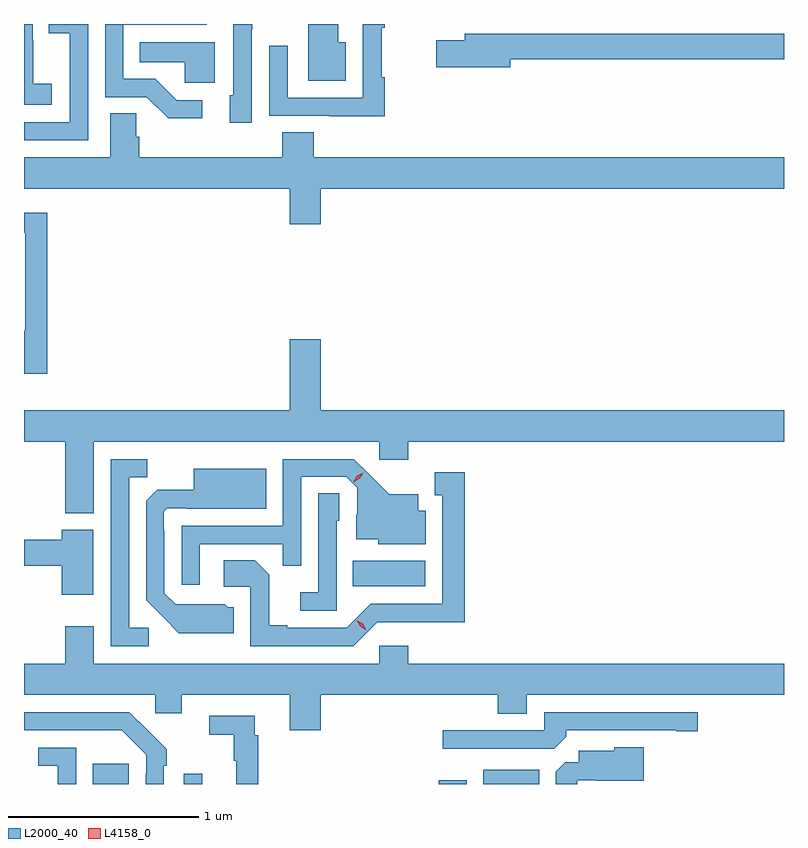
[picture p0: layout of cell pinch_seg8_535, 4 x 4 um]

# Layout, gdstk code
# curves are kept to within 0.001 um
import gdstk
lib = gdstk.Library(unit=1e-6, precision=1e-09)
def R(c, l, rs):  # rectangles x0, y0, x1, y1
    for r in rs: c.add(gdstk.rectangle(r[:2], r[2:], *l))
def P(c, l, *ps):  # polygons
    for p in ps: c.add(gdstk.Polygon(p, *l))
L2000_40 = (2000, 40)
L4158_0 = (4158, 0)

pinch_seg8_535 = lib.new_cell('pinch_seg8_535')
R(pinch_seg8_535, L2000_40, [(116.021,1114.698,116.209,1114.804), (116.499,1114.698,116.595,1114.753), (117.842,1114.698,117.988,1114.717), (118.076,1114.698,118.369,1114.774), (117.388,1115.738,117.769,1115.872)])
P(pinch_seg8_535, L2000_40, [(117.557,1118.417),(117.542,1118.417),(117.542,1118.678),(117.557,1118.678),(117.557,1118.698),(117.441,1118.698),(117.441,1118.31),(117.045,1118.31),(117.045,1118.584),(116.949,1118.584),(116.949,1118.214),(117.265,1118.214),(117.265,1118.213),(117.557,1118.213)],
  [(117.352,1118.602),(117.313,1118.602),(117.313,1118.698),(117.155,1118.698),(117.155,1118.399),(117.352,1118.399)],
  [(116.596,1118.298),(116.461,1118.298),(116.35,1118.409),(116.181,1118.409),(116.181,1118.694),(116.62,1118.694),(116.62,1118.698),(116.085,1118.698),(116.085,1118.313),(116.304,1118.313),(116.417,1118.201),(116.596,1118.201)],
  [(115.995,1118.698),(115.789,1118.698),(115.789,1118.65),(115.899,1118.65),(115.899,1118.181),(115.658,1118.181),(115.658,1118.085),(115.995,1118.085)],
  [(116.856,1118.671),(116.859,1118.671),(116.859,1118.698),(116.759,1118.698),(116.759,1118.641),(116.76,1118.641),(116.76,1118.322),(116.741,1118.322),(116.741,1118.178),(116.856,1118.178)],
  [(115.804,1118.383),(115.706,1118.383),(115.706,1118.612),(115.704,1118.612),(115.704,1118.698),(115.658,1118.698),(115.658,1118.273),(115.804,1118.273)],
  [(118.216,1118.512),(119.658,1118.512),(119.658,1118.648),(117.977,1118.648),(117.977,1118.612),(117.828,1118.612),(117.828,1118.47),(118.216,1118.47)],
  [(116.662,1118.602),(116.266,1118.602),(116.266,1118.498),(116.505,1118.498),(116.505,1118.39),(116.662,1118.39)],
  [(117.22,1117.832),(119.658,1117.832),(119.658,1117.996),(117.182,1117.996),(117.182,1118.129),(117.017,1118.129),(117.017,1117.996),(116.264,1117.996),(116.264,1118.105),(116.25,1118.105),(116.25,1118.228),(116.111,1118.228),(116.111,1117.996),(115.658,1117.996),(115.658,1117.832),(117.056,1117.832),(117.056,1117.644),(117.22,1117.644)],
  [(115.781,1117.705),(115.658,1117.705),(115.658,1117.599),(115.665,1117.599),(115.665,1117.083),(115.658,1117.083),(115.658,1116.858),(115.781,1116.858)],
  [(116.026,1116.5),(117.528,1116.5),(117.528,1116.405),(117.68,1116.405),(117.68,1116.5),(119.658,1116.5),(119.658,1116.664),(117.22,1116.664),(117.22,1117.039),(117.056,1117.039),(117.056,1116.664),(115.658,1116.664),(115.658,1116.5),(115.874,1116.5),(115.874,1116.122),(116.026,1116.122)],
  [(116.314,1115.52),(116.211,1115.52),(116.211,1116.313),(116.307,1116.313),(116.307,1116.408),(116.115,1116.408),(116.115,1115.424),(116.314,1115.424)],
  [(116.583,1115.961),(117.019,1115.961),(117.019,1115.848),(117.117,1115.848),(117.117,1116.315),(117.354,1116.315),(117.411,1116.258),(117.411,1116.116),(117.407,1116.116),(117.407,1115.987),(117.522,1115.987),(117.522,1115.96),(117.772,1115.96),(117.772,1116.136),(117.733,1116.136),(117.733,1116.223),(117.581,1116.223),(117.394,1116.408),(117.021,1116.408),(117.021,1116.057),(116.487,1116.057),(116.487,1115.748),(116.583,1115.748)],
  [(116.761,1115.628),(116.73,1115.628),(116.714,1115.644),(116.457,1115.643),(116.397,1115.703),(116.397,1116.032),(116.394,1116.032),(116.394,1116.132),(116.412,1116.15),(116.512,1116.15),(116.512,1116.146),(116.932,1116.146),(116.932,1116.358),(116.552,1116.358),(116.552,1116.247),(116.36,1116.247),(116.301,1116.188),(116.301,1115.666),(116.473,1115.492),(116.761,1115.492)],
  [(117.516,1115.55),(117.979,1115.549),(117.979,1116.34),(117.821,1116.34),(117.821,1116.219),(117.86,1116.219),(117.86,1115.646),(117.483,1115.646),(117.357,1115.52),(117.043,1115.52),(117.043,1115.533),(116.949,1115.533),(116.949,1115.8),(116.873,1115.876),(116.709,1115.876),(116.709,1115.736),(116.85,1115.736),(116.85,1115.424),(117.39,1115.424)],
  [(117.303,1116.084),(117.318,1116.084),(117.318,1116.227),(117.207,1116.227),(117.207,1115.707),(117.111,1115.707),(117.111,1115.61),(117.303,1115.61)],
  [(116.023,1116.037),(115.856,1116.037),(115.856,1115.984),(115.658,1115.984),(115.658,1115.848),(115.856,1115.848),(115.856,1115.694),(116.023,1115.694)],
  [(117.22,1115.168),(118.151,1115.168),(118.151,1115.069),(118.303,1115.069),(118.303,1115.168),(119.658,1115.168),(119.658,1115.332),(117.68,1115.332),(117.68,1115.425),(117.528,1115.425),(117.528,1115.332),(116.026,1115.332),(116.026,1115.527),(115.874,1115.527),(115.874,1115.332),(115.658,1115.332),(115.658,1115.168),(116.349,1115.168),(116.349,1115.07),(116.488,1115.07),(116.488,1115.168),(117.056,1115.168),(117.056,1114.98),(117.22,1114.98)],
  [(116.394,1114.793),(116.409,1114.793),(116.409,1114.881),(116.212,1115.076),(115.658,1115.076),(115.658,1114.98),(116.173,1114.98),(116.301,1114.851),(116.301,1114.751),(116.298,1114.751),(116.298,1114.698),(116.394,1114.698)],
  [(118.511,1114.946),(118.511,1114.98),(119.09,1114.98),(119.09,1114.975),(119.203,1114.975),(119.203,1115.076),(118.395,1115.076),(118.395,1114.98),(117.861,1114.98),(117.861,1114.884),(118.449,1114.884)],
  [(116.891,1114.955),(116.873,1114.955),(116.873,1115.058),(116.634,1115.058),(116.634,1114.957),(116.763,1114.957),(116.763,1114.821),(116.774,1114.821),(116.774,1114.698),(116.891,1114.698)],
  [(118.569,1114.719),(118.669,1114.719),(118.669,1114.715),(118.921,1114.715),(118.921,1114.891),(118.764,1114.891),(118.764,1114.873),(118.577,1114.873),(118.577,1114.812),(118.506,1114.812),(118.457,1114.763),(118.457,1114.698),(118.569,1114.698)],
  [(115.932,1114.89),(115.734,1114.89),(115.734,1114.794),(115.836,1114.794),(115.836,1114.698),(115.932,1114.698)])
P(pinch_seg8_535, L4158_0, [(117.459,1115.508),(117.427,1115.527),(117.41,1115.559),(117.41,1115.56),(117.41,1115.56),(117.442,1115.541),(117.459,1115.508),(117.459,1115.508)],
  [(117.394,1116.29),(117.394,1116.291),(117.412,1116.321),(117.443,1116.336),(117.443,1116.336),(117.443,1116.336),(117.426,1116.306),(117.395,1116.29)])

lib.write_gds('pinch_seg8_535.gds')
